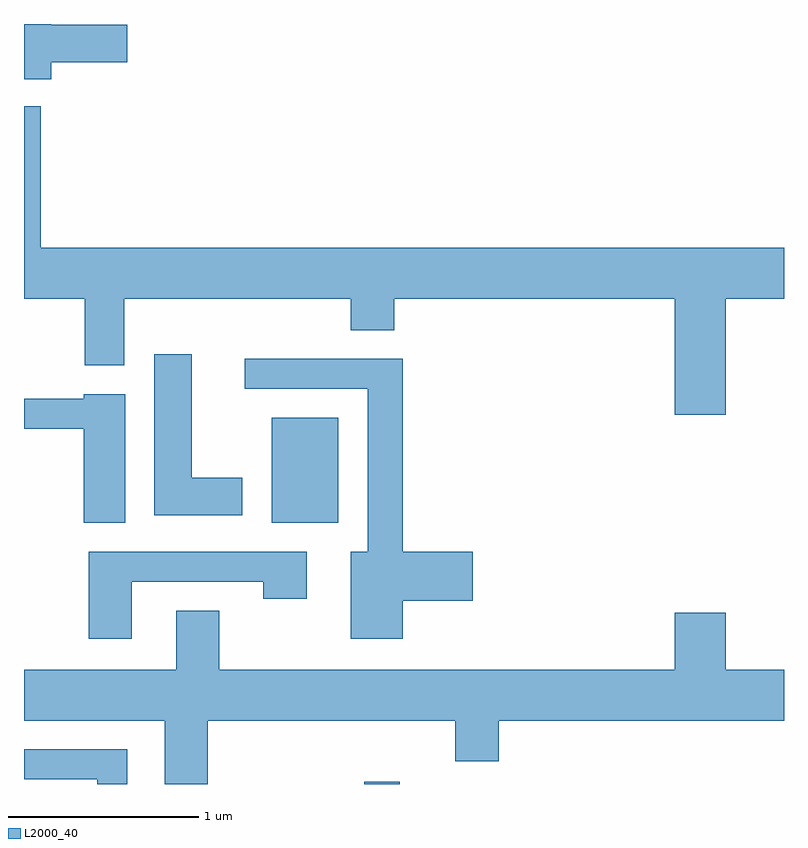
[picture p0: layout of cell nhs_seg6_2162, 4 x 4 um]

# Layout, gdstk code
import gdstk
lib = gdstk.Library(unit=1e-6, precision=1e-09)
def R(c, l, rs):  # rectangles x0, y0, x1, y1
    for r in rs: c.add(gdstk.rectangle(r[:2], r[2:], *l))
def P(c, l, *ps):  # polygons
    for p in ps: c.add(gdstk.Polygon(p, *l))
L2000_40 = (2000, 40)

nhs_seg6_2162 = lib.new_cell('nhs_seg6_2162')
R(nhs_seg6_2162, L2000_40, [(253.401,1534.162,253.589,1534.174), (252.916,1535.536,253.264,1536.089)])
P(nhs_seg6_2162, L2000_40, [(251.754,1537.961),(252.154,1537.961),(252.154,1538.159),(251.754,1538.159),(251.754,1538.162),(251.611,1538.162),(251.611,1537.871),(251.754,1537.871)],
  [(255.304,1536.716),(255.611,1536.716),(255.611,1536.984),(251.699,1536.984),(251.699,1537.728),(251.611,1537.728),(251.611,1536.716),(251.931,1536.716),(251.931,1536.366),(252.139,1536.366),(252.139,1536.716),(253.331,1536.716),(253.331,1536.551),(253.559,1536.551),(253.559,1536.716),(255.036,1536.716),(255.036,1536.106),(255.304,1536.106)],
  [(252.759,1535.774),(252.494,1535.774),(252.494,1536.424),(252.296,1536.424),(252.296,1535.576),(252.759,1535.576)],
  [(253.604,1535.126),(253.974,1535.126),(253.974,1535.384),(253.604,1535.384),(253.604,1536.399),(252.773,1536.399),(252.773,1536.241),(253.421,1536.241),(253.421,1535.384),(253.331,1535.384),(253.331,1534.926),(253.604,1534.926)],
  [(252.144,1536.214),(251.926,1536.214),(251.926,1536.189),(251.611,1536.189),(251.611,1536.031),(251.926,1536.031),(251.926,1535.536),(252.144,1535.536)],
  [(252.179,1535.226),(252.871,1535.226),(252.871,1535.136),(253.099,1535.136),(253.099,1535.384),(251.951,1535.384),(251.951,1534.926),(252.179,1534.926)],
  [(252.579,1534.496),(253.881,1534.496),(253.881,1534.281),(254.109,1534.281),(254.109,1534.496),(255.611,1534.496),(255.611,1534.764),(255.304,1534.764),(255.304,1535.064),(255.036,1535.064),(255.036,1534.764),(252.639,1534.764),(252.639,1535.074),(252.411,1535.074),(252.411,1534.764),(251.611,1534.764),(251.611,1534.496),(252.351,1534.496),(252.351,1534.162),(252.579,1534.162)],
  [(252.154,1534.344),(251.611,1534.344),(251.611,1534.186),(251.996,1534.186),(251.996,1534.162),(252.154,1534.162)])

lib.write_gds('nhs_seg6_2162.gds')
